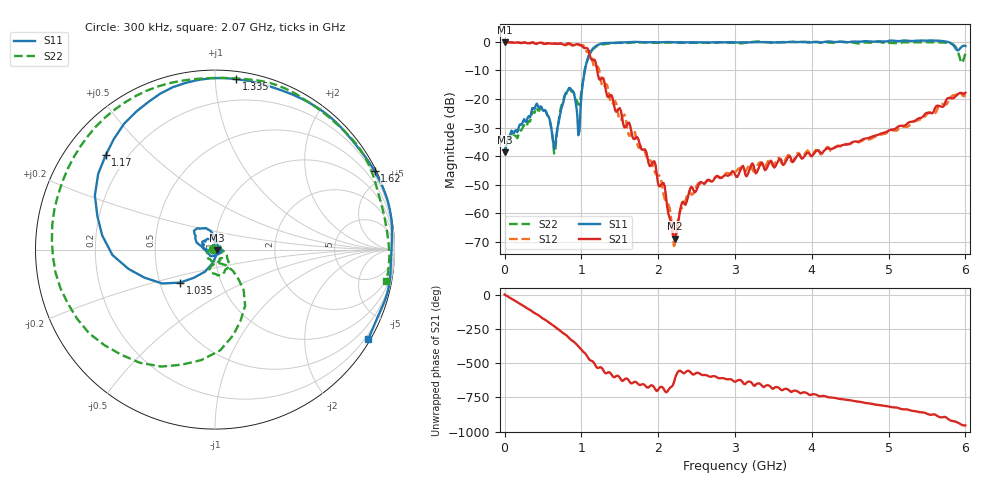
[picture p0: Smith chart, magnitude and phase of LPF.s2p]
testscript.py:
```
#!/usr/bin/env python3

from touchstone_parser import *
from touchstone_writer import *

with open('./test/LPF.s2p', 'r') as file:
    opts, freq, data, comment = parse_file(file)

with open('./test/generated_LPF.s2p', 'w') as file:
    write_file(file, opts, freq, data, comment)
with open('./test/generated_LPF_MA.s2p', 'w') as file:
    opts_ma = opts.copy()
    opts_ma.update({'format': 'MA'})
    write_file(file, opts_ma, freq, data, comment)
```
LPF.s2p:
! 1/31/2024 9:50:40 AM
! D:\LPF.S2P
! CHANNEL.1
! TR.MEASUREMENT
! CORRECTED.DATA
# GHZ S RI R 50.0
! FREQ.GHZ  S11RE  S11IM  S21RE  S21IM  S12RE  S12IM  S22RE  S22IM
!; PortSelection: Port_12
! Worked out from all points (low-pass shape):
!   401 points, 300 kHz to 6 GHz, reference 50 ohm
!   highest |S21| = -0.13 dB at 300 kHz (marker M1); lowest = -68.8 dB at 2.22 GHz (marker M2)
!   |S21| within 3 dB of the highest: start of sweep to 1.093 GHz
!   lowest |S11| = -38.7 dB at 300 kHz (marker M3), VSWR 1.02, Z = 51.2 - j0.224 ohm
!   |S11| at or under -10 dB: start of sweep to 1.045 GHz
!   |S22| runs from -39.0 to 0.1 dB; largest |S21 - S12| = 0.15
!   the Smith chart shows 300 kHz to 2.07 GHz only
!   S11 on the Smith chart (normalised r, x): 300 kHz: 1.02, -0.00; 1.035 GHz: 0.64, -0.25; 1.17 GHz: 0.12, +0.37; 1.335 GHz: 0.05, +1.13; 1.62 GHz: 0.09, +4.31; 2.07 GHz: 0.08, -3.69
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0.0003  0.0115 -0.00219  0.9853 -0.0016  0.9864 -0.00292  -0.0116 0.00249
0.4952753  -0.0288 0.0571  -0.934 -0.1097  -0.9574 -0.1195  -0.0256 -0.0554
1.035248  -0.1932 -0.1836  0.3673 -0.6934  0.3305 -0.7669  0.1597 -0.2258
1.170241  -0.6092 0.5254  -0.3933 -0.2905  -0.2833 -0.2043  -0.523 -0.5852
1.335233  0.1194 0.9498  -0.0969 0.0587  -0.1535 0.087  -0.8745 0.3046
1.620219  0.8903 0.436  -0.000706 0.0388  0.000486 0.0228  0.116 0.954
2.070197  0.8536 -0.4997  0.00283 0.00189  0.00201 0.000775  0.9543 -0.1753
2.220189  0.6874 -0.7026  -0.000131 0.000339  -0.000169 0.000245  0.7767 -0.5963
3.00015  -0.4384 -0.874  0.000514 0.0048  -0.000998 0.0051  -0.9293 -0.2641
4.20009  -0.8445 0.5645  0.0124 -0.00598  0.0128 -0.00677  0.9768 0.106
6  0.8392 0.1276  -0.0757 0.1044  -0.0827 0.088  -0.4072 0.4679
